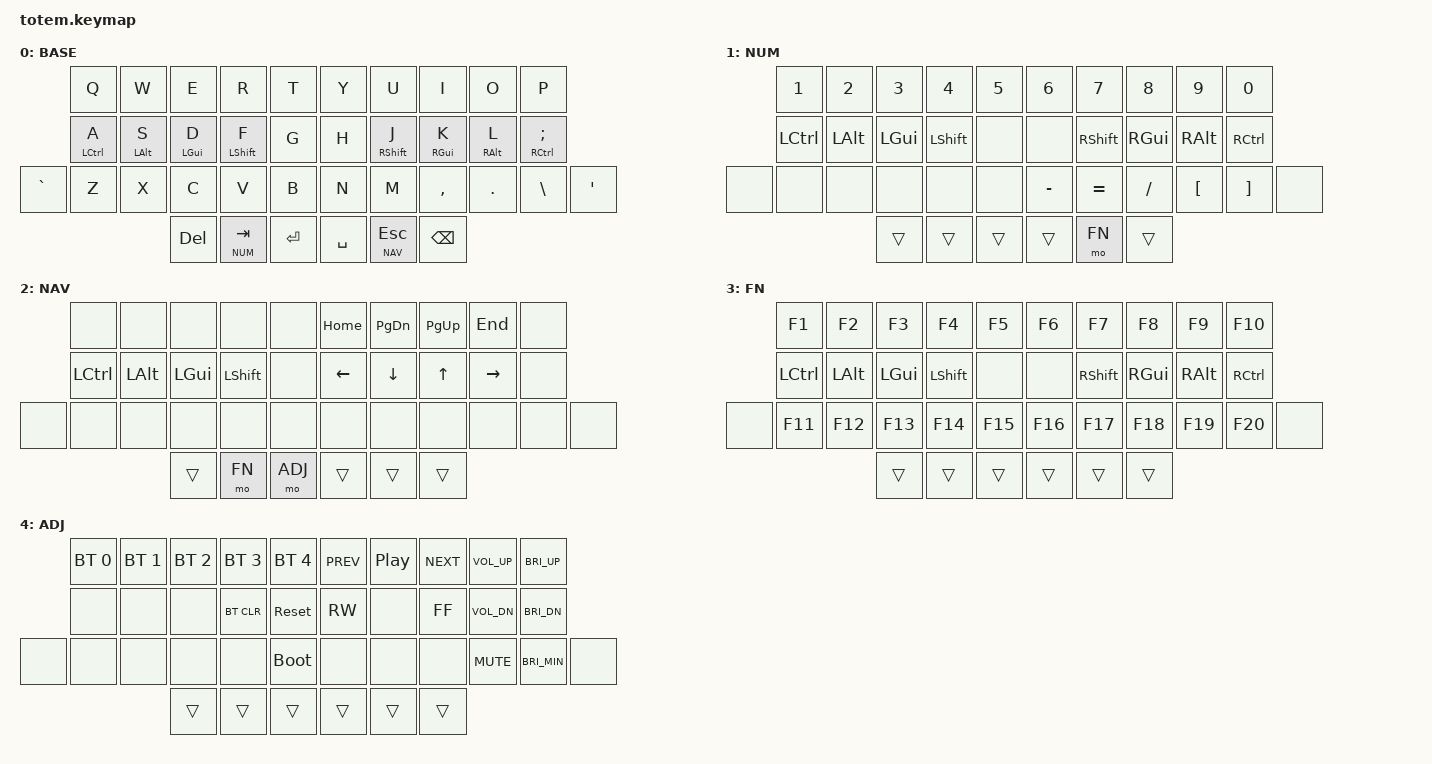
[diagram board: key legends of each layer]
//
//                                                        ▀▀▀▀▀     ▀▀▀▀▀          ▀▀█▀▀
//                                                        ▄▀▀▀▄  ▄  ▄▀▀▀▄  ▄  ▄▀▀▀▄  █  ▄▀▀▀▄
//                                                        █   █  █  █   █  █  █   █  █  █   █
//                                                         ▀▀▀   █   ▀▀▀   █   ▀▀▀   ▀   ▀▀▀
//                                                               █      ▄▄▄█▄▄▄    █   █  
//                                                               ▀      █  █  █     █▄█
//                                                             ▀▀▀▀▀    █  █  █      ▀
//                                                                      ▀  ▀  ▀
//
// ▄▄▄▄▄▄▄▄▄▄▄▄▄▄▄▄▄▄▄▄▄▄▄▄▄▄▄▄▄▄▄▄▄▄▄▄▄▄▄▄▄▄▄▄▄▄▄▄▄▄▄▄▄▄▄▄▄▄▄▄▄▄▄▄▄▄▄▄▄▄▄▄▄▄▄▄▄▄▄▄▄▄▄▄▄▄▄▄▄▄▄▄▄▄▄▄▄▄▄▄▄▄▄▄▄▄▄▄▄▄▄▄▄▄▄▄▄▄▄▄▄▄▄▄▄▄▄▄▄▄▄▄▄▄▄▄▄▄▄▄▄▄▄▄▄▄▄▄▄
       

#include <behaviors.dtsi>
#include <dt-bindings/zmk/keys.h>
#include <dt-bindings/zmk/bt.h>
#include <dt-bindings/zmk/outputs.h>

#define BASE 0
#define NUM  1
#define NAV  2
#define FN   3
#define ADJ  4

&mt {
  quick-tap-ms = <100>;
  global-quick-tap;
  flavor = "balanced";
  tapping-term-ms = <300>;
  require-prior-idle-ms = <150>;
};

/ {

        keymap {
                compatible = "zmk,keymap";
// ▄▄▄▄▄▄▄▄▄▄▄▄▄▄▄▄▄▄▄▄▄▄▄▄▄▄▄▄▄▄▄▄▄▄▄▄▄▄▄▄▄▄▄▄▄▄▄▄▄▄▄▄▄▄▄▄▄▄▄▄▄▄▄▄▄▄▄▄▄▄▄▄▄▄▄▄▄▄▄▄▄▄▄▄▄▄▄▄▄▄▄▄▄▄▄▄▄▄▄▄▄▄▄▄▄▄▄▄▄▄▄▄▄▄▄▄▄▄▄▄▄▄▄▄▄▄▄▄▄▄▄▄▄▄▄▄▄▄▄▄▄▄▄▄▄▄▄▄▄

                base_layer {
// ┏━━━━━━━━━━━━━━━━━━━━━━━━━━━━━━━━━━━━━━━┓
label= "BASE"                              ;
// ┗━━━━━━━━━━━━━━━━━━━━━━━━━━━━━━━━━━━━━━━┛
//             ┏━━━━━━━━━━━┳━━━━━━━━━━━┳━━━━━━━━━━━┳━━━━━━━━━━━┳━━━━━━━━━━━┓   ┏━━━━━━━━━━━┳━━━━━━━━━━━┳━━━━━━━━━━━┳━━━━━━━━━━━┳━━━━━━━━━━━┓
//             ┃     Q     ┃     W     ┃     E     ┃     R     ┃     T     ┃   ┃     Y     ┃     U     ┃     I     ┃     O     ┃     P     ┃
//             ┣━━━━━━━━━━━╋━━━━━━━━━━━╋━━━━━━━━━━━╋━━━━━━━━━━━╋━━━━━━━━━━━┫   ┣━━━━━━━━━━━╋━━━━━━━━━━━╋━━━━━━━━━━━╋━━━━━━━━━━━╋━━━━━━━━━━━┫
//             ┃     A     ┃     S     ┃     D     ┃     F     ┃     G     ┃   ┃     H     ┃     J     ┃     K     ┃     L     ┃    ; :    ┃
// ┏━━━━━━━━━━━╋━━━━━━━━━━━╋━━━━━━━━━━━╋━━━━━━━━━━━╋━━━━━━━━━━━╋━━━━━━━━━━━┫   ┣━━━━━━━━━━━╋━━━━━━━━━━━╋━━━━━━━━━━━╋━━━━━━━━━━━╋━━━━━━━━━━━╋━━━━━━━━━━━┓
// ┃    ` ~    ┃     Z     ┃     X     ┃     C     ┃     V     ┃     B     ┃   ┃     N     ┃     M     ┃    , <    ┃    . >    ┃    \ |    ┃    '  "   ┃
// ┗━━━━━━━━━━━┻━━━━━━━━━━━┻━━━━━━━━━━━╋━━━━━━━━━━━╋━━━━━━━━━━━╋━━━━━━━━━━━┫   ┣━━━━━━━━━━━╋━━━━━━━━━━━╋━━━━━━━━━━━╋━━━━━━━━━━━┻━━━━━━━━━━━┻━━━━━━━━━━━┛
//                                     ┃    DEL    ┃    TAB    ┃   ENTER   ┃   ┃   SPACE   ┃    ESC    ┃   BSPC    ┃
//                                     ┗━━━━━━━━━━━┻━━━━━━━━━━━┻━━━━━━━━━━━┛   ┗━━━━━━━━━━━┻━━━━━━━━━━━┻━━━━━━━━━━━┛
 bindings = <
// ╷           ╷           ╷           ╷           ╷           ╷           ╷   ╷           ╷           ╷           ╷           ╷           ╷           ╷

                &kp Q       &kp W       &kp E       &kp R       &kp T           &kp Y       &kp U       &kp I       &kp O       &kp P
                &mt LCTRL A &mt LALT S  &mt LGUI D  &mt LSHFT F &kp G           &kp H       &mt RSHFT J &mt RGUI K  &mt RALT L  &mt RCTRL SEMI
    &kp GRAVE   &kp Z       &kp X       &kp C       &kp V       &kp B           &kp N       &kp M       &kp COMMA   &kp DOT     &kp BSLH    &kp APOS
                                        &kp DEL     &lt NUM TAB &kp RET         &kp SPACE   &lt NAV ESC &kp BSPC
                        >;
                };

// ▄▄▄▄▄▄▄▄▄▄▄▄▄▄▄▄▄▄▄▄▄▄▄▄▄▄▄▄▄▄▄▄▄▄▄▄▄▄▄▄▄▄▄▄▄▄▄▄▄▄▄▄▄▄▄▄▄▄▄▄▄▄▄▄▄▄▄▄▄▄▄▄▄▄▄▄▄▄▄▄▄▄▄▄▄▄▄▄▄▄▄▄▄▄▄▄▄▄▄▄▄▄▄▄▄▄▄▄▄▄▄▄▄▄▄▄▄▄▄▄▄▄▄▄▄▄▄▄▄▄▄▄▄▄▄▄▄▄▄▄▄▄▄▄▄▄▄▄▄


                num_layer {
// ┏━━━━━━━━━━━━━━━━━━━━━━━━━━━━━━━━━━━━━━━┓
label= "NUM"                               ;
// ┗━━━━━━━━━━━━━━━━━━━━━━━━━━━━━━━━━━━━━━━┛
//             ┏━━━━━━━━━━━┳━━━━━━━━━━━┳━━━━━━━━━━━┳━━━━━━━━━━━┳━━━━━━━━━━━┓   ┏━━━━━━━━━━━┳━━━━━━━━━━━┳━━━━━━━━━━━┳━━━━━━━━━━━┳━━━━━━━━━━━┓
//             ┃    1 !    ┃    2 @    ┃    3 #    ┃    4 $    ┃    5 %    ┃   ┃    6 ^    ┃    7 &    ┃    8 *    ┃    9 (    ┃    0 )    ┃
//             ┣━━━━━━━━━━━╋━━━━━━━━━━━╋━━━━━━━━━━━╋━━━━━━━━━━━╋━━━━━━━━━━━┫   ┣━━━━━━━━━━━┫━━━━━━━━━━━╋━━━━━━━━━━━╋━━━━━━━━━━━╋━━━━━━━━━━━┫
//             ┃   CTRL    ┃    ALT    ┃    GUI    ┃   SHIFT   ┃     ×     ┃   ┃     ×     ┃   SHIFT   ┃    GUI    ┃    ALT    ┃   CTRL    ┃
// ┏━━━━━━━━━━━╋━━━━━━━━━━━╋━━━━━━━━━━━╋━━━━━━━━━━━╋━━━━━━━━━━━╋━━━━━━━━━━━┫   ┣━━━━━━━━━━━╋━━━━━━━━━━━╋━━━━━━━━━━━╋━━━━━━━━━━━╋━━━━━━━━━━━╋━━━━━━━━━━━┓
// ┃     ×     ┃     ×     ┃     ×     ┃     ×     ┃     ×     ┃     ×     ┃   ┃    - _    ┃    = +    ┃    / ?    ┃    [ {    ┃    ]  }   ┃     ×     ┃
// ┗━━━━━━━━━━━┻━━━━━━━━━━━┻━━━━━━━━━━━╋━━━━━━━━━━━╋━━━━━━━━━━━╋━━━━━━━━━━━┫   ┣━━━━━━━━━━━╋━━━━━━━━━━━╋━━━━━━━━━━━╋━━━━━━━━━━━┻━━━━━━━━━━━┻━━━━━━━━━━━┛
//                                     ┃           ┃           ┃           ┃   ┃           ┃    FN     ┃           ┃
//                                     ┗━━━━━━━━━━━┻━━━━━━━━━━━┻━━━━━━━━━━━┛   ┗━━━━━━━━━━━┻━━━━━━━━━━━┻━━━━━━━━━━━┛
 bindings = <
// ╷           ╷           ╷           ╷           ╷           ╷           ╷   ╷           ╷           ╷           ╷           ╷           ╷           ╷

                &kp N1      &kp N2      &kp N3      &kp N4      &kp N5          &kp N6      &kp N7      &kp N8      &kp N9      &kp N0 
                &kp LCTRL   &kp LALT    &kp LGUI    &kp LSHFT   &none           &none       &kp RSHFT   &kp RGUI    &kp RALT    &kp RCTRL
    &none       &none       &none       &none       &none       &none           &kp MINUS   &kp EQUAL   &kp FSLH    &kp LBKT    &kp RBKT    &none
                                        &trans      &trans      &trans          &trans      &mo FN      &trans      
                        >;
                };

// ▄▄▄▄▄▄▄▄▄▄▄▄▄▄▄▄▄▄▄▄▄▄▄▄▄▄▄▄▄▄▄▄▄▄▄▄▄▄▄▄▄▄▄▄▄▄▄▄▄▄▄▄▄▄▄▄▄▄▄▄▄▄▄▄▄▄▄▄▄▄▄▄▄▄▄▄▄▄▄▄▄▄▄▄▄▄▄▄▄▄▄▄▄▄▄▄▄▄▄▄▄▄▄▄▄▄▄▄▄▄▄▄▄▄▄▄▄▄▄▄▄▄▄▄▄▄▄▄▄▄▄▄▄▄▄▄▄▄▄▄▄▄▄▄▄▄▄▄▄



                nav_layer {
// ┏━━━━━━━━━━━━━━━━━━━━━━━━━━━━━━━━━━━━━━━┓
label= "NAV"                               ;
// ┗━━━━━━━━━━━━━━━━━━━━━━━━━━━━━━━━━━━━━━━┛
//             ┏━━━━━━━━━━━┳━━━━━━━━━━━┳━━━━━━━━━━━┳━━━━━━━━━━━┳━━━━━━━━━━━┓   ┏━━━━━━━━━━━┳━━━━━━━━━━━┳━━━━━━━━━━━┳━━━━━━━━━━━┳━━━━━━━━━━━┓
//             ┃     ×     ┃     ×     ┃     ×     ┃     ×     ┃     ×     ┃   ┃   HOME    ┃   PG_DN   ┃   PG_UP   ┃    END    ┃     ×     ┃
//             ┣━━━━━━━━━━━╋━━━━━━━━━━━╋━━━━━━━━━━━╋━━━━━━━━━━━╋━━━━━━━━━━━┫   ┣━━━━━━━━━━━┫━━━━━━━━━━━╋━━━━━━━━━━━╋━━━━━━━━━━━╋━━━━━━━━━━━┫
//             ┃   CTRL    ┃    ALT    ┃    GUI    ┃   SHIFT   ┃     ×     ┃   ┃    LEFT   ┃   DOWN    ┃     UP    ┃   RIGHT   ┃     ×     ┃
// ┏━━━━━━━━━━━╋━━━━━━━━━━━╋━━━━━━━━━━━╋━━━━━━━━━━━╋━━━━━━━━━━━╋━━━━━━━━━━━┫   ┣━━━━━━━━━━━╋━━━━━━━━━━━╋━━━━━━━━━━━╋━━━━━━━━━━━╋━━━━━━━━━━━╋━━━━━━━━━━━┓
// ┃     ×     ┃     ×     ┃     ×     ┃     ×     ┃     ×     ┃     ×     ┃   ┃     ×     ┃     ×     ┃     ×     ┃     ×     ┃     ×     ┃     ×     ┃
// ┗━━━━━━━━━━━┻━━━━━━━━━━━┻━━━━━━━━━━━╋━━━━━━━━━━━╋━━━━━━━━━━━╋━━━━━━━━━━━┫   ┣━━━━━━━━━━━╋━━━━━━━━━━━╋━━━━━━━━━━━╋━━━━━━━━━━━┻━━━━━━━━━━━┻━━━━━━━━━━━┛
//                                     ┃    CAPS   ┃    FN     ┃    ADJ    ┃   ┃           ┃           ┃           ┃
//                                     ┗━━━━━━━━━━━┻━━━━━━━━━━━┻━━━━━━━━━━━┛   ┗━━━━━━━━━━━┻━━━━━━━━━━━┻━━━━━━━━━━━┛
        bindings = <
// ╷           ╷           ╷           ╷           ╷           ╷           ╷   ╷           ╷           ╷           ╷           ╷           ╷           ╷

                &none       &none      &none        &none       &none           &kp HOME    &kp PG_DN   &kp PG_UP   &kp END     &none
                &kp LCTRL   &kp LALT    &kp LGUI    &kp LSHFT   &none           &kp LEFT    &kp DOWN    &kp UP      &kp RIGHT   &none 
    &none       &none       &none      &none        &none       &none           &none       &none       &none       &none       &none       &none 
                                       &trans       &mo FN      &mo ADJ         &trans      &trans      &trans      
                        >;
                };

// ▄▄▄▄▄▄▄▄▄▄▄▄▄▄▄▄▄▄▄▄▄▄▄▄▄▄▄▄▄▄▄▄▄▄▄▄▄▄▄▄▄▄▄▄▄▄▄▄▄▄▄▄▄▄▄▄▄▄▄▄▄▄▄▄▄▄▄▄▄▄▄▄▄▄▄▄▄▄▄▄▄▄▄▄▄▄▄▄▄▄▄▄▄▄▄▄▄▄▄▄▄▄▄▄▄▄▄▄▄▄▄▄▄▄▄▄▄▄▄▄▄▄▄▄▄▄▄▄▄▄▄▄▄▄▄▄▄▄▄▄▄▄▄▄▄▄▄▄▄
        
        
                fn_layer {
// ┏━━━━━━━━━━━━━━━━━━━━━━━━━━━━━━━━━━━━━━━┓
label= "FN"                                ;
// ┗━━━━━━━━━━━━━━━━━━━━━━━━━━━━━━━━━━━━━━━┛
//             ┏━━━━━━━━━━━┳━━━━━━━━━━━┳━━━━━━━━━━━┳━━━━━━━━━━━┳━━━━━━━━━━━┓   ┏━━━━━━━━━━━┳━━━━━━━━━━━┳━━━━━━━━━━━┳━━━━━━━━━━━┳━━━━━━━━━━━┓
//             ┃     F1    ┃    F2     ┃    F3     ┃    F4     ┃     F5    ┃   ┃    F6     ┃    F7     ┃    F8     ┃    F9     ┃    F10    ┃
//             ┣━━━━━━━━━━━╋━━━━━━━━━━━╋━━━━━━━━━━━╋━━━━━━━━━━━╋━━━━━━━━━━━┫   ┣━━━━━━━━━━━╋━━━━━━━━━━━╋━━━━━━━━━━━╋━━━━━━━━━━━╋━━━━━━━━━━━┫
//             ┃   CTRL    ┃    ALT    ┃    GUI    ┃   SHIFT   ┃     ×     ┃   ┃     ×     ┃   SHIFT   ┃    GUI    ┃    ALT    ┃   CTRL    ┃
// ┏━━━━━━━━━━━╋━━━━━━━━━━━╋━━━━━━━━━━━╋━━━━━━━━━━━╋━━━━━━━━━━━╋━━━━━━━━━━━┫   ┣━━━━━━━━━━━╋━━━━━━━━━━━╋━━━━━━━━━━━╋━━━━━━━━━━━╋━━━━━━━━━━━╋━━━━━━━━━━━┓
// ┃     ×     ┃     F11   ┃    F12    ┃    F13    ┃    F14    ┃     F15   ┃   ┃    F16    ┃    F17    ┃    F18    ┃    F19    ┃    F20    ┃     ×     ┃
// ┗━━━━━━━━━━━┻━━━━━━━━━━━┻━━━━━━━━━━━╋━━━━━━━━━━━╋━━━━━━━━━━━╋━━━━━━━━━━━┫   ┣━━━━━━━━━━━╋━━━━━━━━━━━╋━━━━━━━━━━━╋━━━━━━━━━━━┻━━━━━━━━━━━┻━━━━━━━━━━━┛
//                                     ┃           ┃           ┃           ┃   ┃           ┃           ┃           ┃
//                                     ┗━━━━━━━━━━━┻━━━━━━━━━━━┻━━━━━━━━━━━┛   ┗━━━━━━━━━━━┻━━━━━━━━━━━┻━━━━━━━━━━━┛
 bindings = <
// ╷           ╷           ╷           ╷           ╷           ╷           ╷   ╷           ╷           ╷           ╷           ╷           ╷           ╷

                &kp F1      &kp F2      &kp F3      &kp F4      &kp F5          &kp F6      &kp F7      &kp F8      &kp F9      &kp F10
                &kp LCTRL   &kp LALT    &kp LGUI    &kp LSHFT   &none           &none       &kp RSHFT   &kp RGUI    &kp RALT    &kp RCTRL
    &none       &kp F11     &kp F12     &kp F13     &kp F14     &kp F15         &kp F16     &kp F17     &kp F18     &kp F19     &kp F20     &none
                                        &trans      &trans      &trans          &trans      &trans      &trans      
                        >;
                };

// ▄▄▄▄▄▄▄▄▄▄▄▄▄▄▄▄▄▄▄▄▄▄▄▄▄▄▄▄▄▄▄▄▄▄▄▄▄▄▄▄▄▄▄▄▄▄▄▄▄▄▄▄▄▄▄▄▄▄▄▄▄▄▄▄▄▄▄▄▄▄▄▄▄▄▄▄▄▄▄▄▄▄▄▄▄▄▄▄▄▄▄▄▄▄▄▄▄▄▄▄▄▄▄▄▄▄▄▄▄▄▄▄▄▄▄▄▄▄▄▄▄▄▄▄▄▄▄▄▄▄▄▄▄▄▄▄▄▄▄▄▄▄▄▄▄▄▄▄▄



                adjust_layer {
// ┏━━━━━━━━━━━━━━━━━━━━━━━━━━━━━━━━━━━━━━━┓
label= "ADJ"                               ;
// ┗━━━━━━━━━━━━━━━━━━━━━━━━━━━━━━━━━━━━━━━┛
//             ┏━━━━━━━━━━━┳━━━━━━━━━━━┳━━━━━━━━━━━┳━━━━━━━━━━━┳━━━━━━━━━━━┓   ┏━━━━━━━━━━━┳━━━━━━━━━━━┳━━━━━━━━━━━┳━━━━━━━━━━━┳━━━━━━━━━━━┓
//             ┃    BT 0   ┃    BT 1   ┃    BT 2   ┃    BT 3   ┃   BT 4    ┃   ┃    PREV   ┃   PLAY    ┃   NEXT    ┃    VOL+   ┃  BRI_UP   ┃ 
//             ┣━━━━━━━━━━━╋━━━━━━━━━━━╋━━━━━━━━━━━╋━━━━━━━━━━━╋━━━━━━━━━━━┫   ┣━━━━━━━━━━━╋━━━━━━━━━━━╋━━━━━━━━━━━╋━━━━━━━━━━━╋━━━━━━━━━━━┫
//             ┃     ×     ┃     ×     ┃     ×     ┃   BT_CLR  ┃   RESET   ┃   ┃     RW    ┃     ×     ┃    FF     ┃    VOL-   ┃  BRI_DN   ┃
// ┏━━━━━━━━━━━╋━━━━━━━━━━━╋━━━━━━━━━━━╋━━━━━━━━━━━╋━━━━━━━━━━━╋━━━━━━━━━━━┫   ┣━━━━━━━━━━━╋━━━━━━━━━━━╋━━━━━━━━━━━╋━━━━━━━━━━━╋━━━━━━━━━━━╋━━━━━━━━━━━┓
// ┃     ×     ┃     ×     ┃     ×     ┃     ×     ┃     ×     ┃ BOOTLOAD  ┃   ┃     ×     ┃     ×     ┃     ×     ┃    MUTE   ┃  BRI_MIN  ┃     ×     ┃
// ┗━━━━━━━━━━━┻━━━━━━━━━━━┻━━━━━━━━━━━╋━━━━━━━━━━━╋━━━━━━━━━━━╋━━━━━━━━━━━┫   ┣━━━━━━━━━━━╋━━━━━━━━━━━╋━━━━━━━━━━━╋━━━━━━━━━━━┻━━━━━━━━━━━┻━━━━━━━━━━━┛
//                                     ┃           ┃           ┃           ┃   ┃           ┃           ┃           ┃
//                                     ┗━━━━━━━━━━━┻━━━━━━━━━━━┻━━━━━━━━━━━┛   ┗━━━━━━━━━━━┻━━━━━━━━━━━┻━━━━━━━━━━━┛
 bindings = <
// ╷           ╷           ╷           ╷           ╷           ╷           ╷   ╷           ╷           ╷           ╷           ╷           ╷           ╷

                &bt BT_SEL 0 &bt BT_SEL 1 &bt BT_SEL 2  &bt BT_SEL 3 &bt BT_SEL 4 &kp C_PREV &kp C_PP   &kp C_NEXT  &kp C_VOL_UP &kp C_BRI_UP
                &none       &none       &none       &bt BT_CLR  &sys_reset      &kp C_RW    &none       &kp C_FF    &kp C_VOL_DN &kp C_BRI_DN  
    &none       &none       &none       &none       &none       &bootloader     &none       &none       &none       &kp C_MUTE  &kp C_BRI_MIN &none
                                        &trans      &trans      &trans          &trans      &trans      &trans      
                        >;
                };

        };
};
